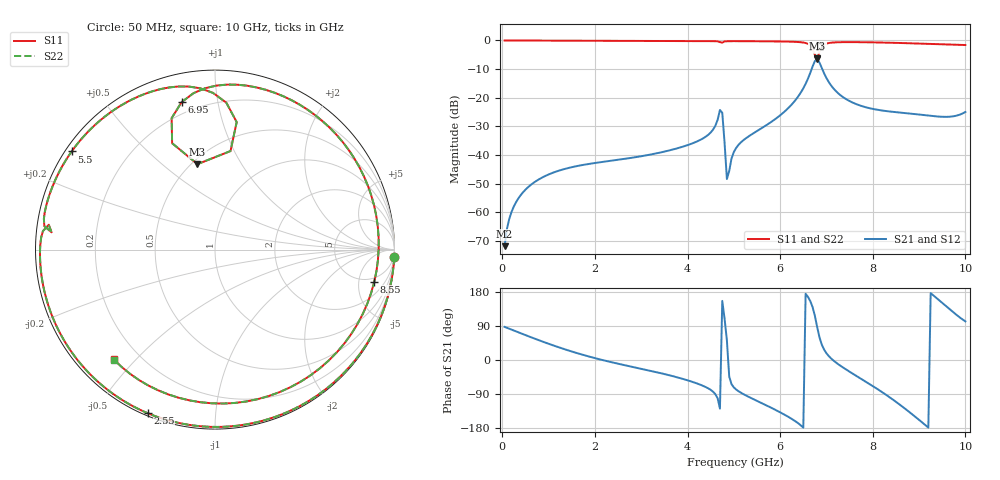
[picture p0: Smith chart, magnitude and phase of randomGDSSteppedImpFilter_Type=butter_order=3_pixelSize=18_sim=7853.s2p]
! freq	dB(S11)	phase(S11)	dB(S12)	phase(S12)
!  dB(S21)	phase(S21)	dB(S22)	phase(S22)
!S-par simulation data
#  GHz  S  DB  R 50
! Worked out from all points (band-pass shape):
!   200 points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, 50 MHz to 10 GHz, reference 50 ohm
!   highest |S21| = -6.59 dB at 6.8 GHz (marker M1); lowest = -71.9 dB at 50 MHz (marker M2)
!   |S21| within 3 dB of the highest: 6.689 GHz to 6.898 GHz (208.5 MHz wide, 3.07 % of centre)
!   lowest |S11| = -6.3 dB at 6.8 GHz (marker M3), VSWR 2.89, Z = 26.7 + j33.3 ohm
!   |S11| at or under -10 dB: nowhere
!   |S22| runs from -6.3 to 0.0 dB; largest |S21 - S12| = 0
!   S11 on the Smith chart (normalised r, x): 50 MHz: 0, -46; 2.55 GHz: 0.01, -0.67; 5.5 GHz: 0.02, +0.31; 6.95 GHz: 0.14, +0.79; 8.55 GHz: 3.97, -7.95; 10 GHz: 0.11, -0.43
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0.05  -0.00 -2.5  -71.89 87.4  -71.89 87.4  -0.00 -2.5
0.2  -0.02 -9.8  -59.89 80.1  -59.89 80.1  -0.02 -9.8
0.5  -0.03 -24.4  -52.15 65.7  -52.15 65.7  -0.03 -24.4
1.75  -0.10 -80.9  -43.47 13.3  -43.47 13.3  -0.10 -80.8
2.55  -0.13 -112.4  -41.58 -11.2  -41.58 -11.2  -0.13 -112.4
3.4  -0.16 -142.7  -39.21 -34.1  -39.21 -34.1  -0.16 -142.7
4.4  -0.21 -176.6  -33.55 -71.8  -33.55 -71.8  -0.21 -176.6
4.7  -0.57 171.5  -24.29 -128.3  -24.29 -128.3  -0.57 171.5
4.75  -0.77 174.0  -25.27 156.0  -25.27 156.0  -0.76 174.0
4.85  -0.28 169.8  -48.44 51.8  -48.44 51.8  -0.28 169.8
5.05  -0.25 162.1  -37.55 -77.9  -37.55 -77.9  -0.25 162.1
5.5  -0.28 145.6  -31.65 -107.9  -31.65 -107.9  -0.28 145.6
6.3  -0.46 111.2  -21.45 -159.3  -21.45 -159.3  -0.46 111.2
6.55  -0.89 95.2  -15.16 174.8  -15.16 174.8  -0.89 95.2
6.7  -2.85 80.3  -9.12 139.8  -9.12 139.8  -2.85 80.4
6.8  -6.27 101.6  -6.59 86.6  -6.59 86.6  -6.26 101.6
6.95  -1.49 102.8  -11.53 27.2  -11.53 27.2  -1.49 102.8
7.55  -0.58 59.6  -21.60 -34.7  -21.60 -34.7  -0.58 59.6
8.35  -0.78 4.1  -24.80 -97.2  -24.80 -97.2  -0.78 4.1
8.55  -0.87 -11.5  -25.14 -114.8  -25.14 -114.8  -0.86 -11.4
9.3  -1.24 -74.2  -26.43 171.3  -26.43 171.3  -1.24 -74.0
10  -1.60 -132.7  -24.99 101.9  -24.99 101.9  -1.59 -132.4
